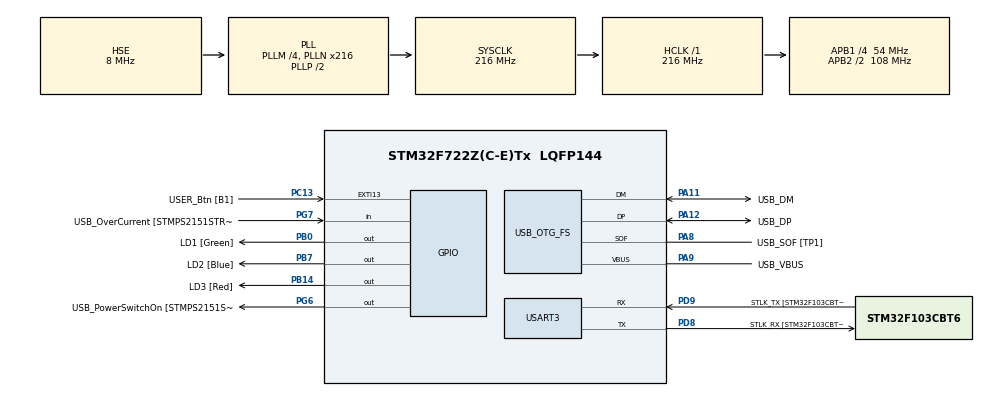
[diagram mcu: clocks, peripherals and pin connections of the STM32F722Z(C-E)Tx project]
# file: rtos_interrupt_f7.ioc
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FREERTOS.BinarySemaphores01=myBinarySem01,Dynamic,NULL
FREERTOS.CountingSemaphores01=myCountingSem01,2,Dynamic,NULL
FREERTOS.Tasks01=defaultTask,0,128,StartDefaultTask,Default,NULL,Dynamic,NULL,NULL
FREERTOS.configUSE_COUNTING_SEMAPHORES=1
FREERTOS.configUSE_NEWLIB_REENTRANT=1
Mcu.Family=STM32F7
Mcu.Name=STM32F722Z(C-E)Tx
Mcu.Package=LQFP144
NVIC.EXTI15_10_IRQn=true\:5\:0\:false\:false\:true\:true\:true\:true\:true
NVIC.PriorityGroup=NVIC_PRIORITYGROUP_4
NVIC.TIM6_DAC_IRQn=true\:15\:0\:false\:false\:true\:false\:false\:true\:true
NVIC.TimeBase=TIM6_DAC_IRQn
NVIC.TimeBaseIP=TIM6
NVIC.USART3_IRQn=true\:5\:0\:false\:false\:true\:true\:true\:true\:true
PA10.GPIO_Label=USB_ID
PA10.Signal=USB_OTG_FS_ID
PA11.GPIO_Label=USB_DM
PA11.Mode=Device_Only
PA11.Signal=USB_OTG_FS_DM
PA12.GPIO_Label=USB_DP
PA12.Mode=Device_Only
PA12.Signal=USB_OTG_FS_DP
PA13.GPIO_Label=TMS
PA13.Mode=Serial_Wire
PA13.Signal=SYS_JTMS-SWDIO
PA14.GPIO_Label=TCK
PA14.Mode=Serial_Wire
PA14.Signal=SYS_JTCK-SWCLK
PA8.GPIO_Label=USB_SOF [TP1]
PA8.Mode=Activate_SOF_FS
PA8.Signal=USB_OTG_FS_SOF
PA9.GPIO_Label=USB_VBUS
PA9.Mode=Activate_VBUS
PA9.Signal=USB_OTG_FS_VBUS
PB0.GPIO_Label=LD1 [Green]
PB0.Signal=GPIO_Output
PB14.GPIO_Label=LD3 [Red]
PB14.Signal=GPIO_Output
PB3.GPIO_Label=SWO
PB3.Signal=SYS_JTDO-SWO
PB7.GPIO_Label=LD2 [Blue]
PB7.Signal=GPIO_Output
PC13.GPIO_Label=USER_Btn [B1]
PC13.Signal=GPXTI13
PC14-OSC32_IN.Mode=LSE-External-Oscillator
PC14-OSC32_IN.Signal=RCC_OSC32_IN
PC15-OSC32_OUT.Mode=LSE-External-Oscillator
PC15-OSC32_OUT.Signal=RCC_OSC32_OUT
PD8.GPIO_Label=STLK_RX [STM32F103CBT6_PA3]
PD8.Mode=Asynchronous
PD8.Signal=USART3_TX
PD9.GPIO_Label=STLK_TX [STM32F103CBT6_PA2]
PD9.Mode=Asynchronous
PD9.Signal=USART3_RX
PG6.GPIO_Label=USB_PowerSwitchOn [STMPS2151STR_EN]
PG6.Signal=GPIO_Output
PG7.GPIO_Label=USB_OverCurrent [STMPS2151STR_FAULT]
PG7.Signal=GPIO_Input
PH0-OSC_IN.GPIO_Label=MCO
PH0-OSC_IN.Mode=HSE-External-Oscillator
PH0-OSC_IN.Signal=RCC_OSC_IN
PH1-OSC_OUT.Mode=HSE-External-Oscillator
PH1-OSC_OUT.Signal=RCC_OSC_OUT
ProjectManager.HeapSize=0x200
ProjectManager.StackSize=0x400
ProjectManager.TargetToolchain=STM32CubeIDE
RCC.48MHZClocksFreq_Value=24000000
RCC.AHBFreq_Value=216000000
RCC.APB1CLKDivider=RCC_HCLK_DIV4
RCC.APB1Freq_Value=54000000
RCC.APB1TimFreq_Value=108000000
RCC.APB2CLKDivider=RCC_HCLK_DIV2
RCC.APB2Freq_Value=108000000
RCC.APB2TimFreq_Value=216000000
RCC.CortexFreq_Value=216000000
RCC.HCLKFreq_Value=216000000
RCC.HSE_VALUE=8000000
RCC.HSI_VALUE=16000000
RCC.PLLM=4
RCC.PLLMUL=RCC_PLL_MUL9
RCC.PLLN=216
RCC.PLLQ=9
RCC.PRESCALERUSB=RCC_USBCLKSOURCE_PLL_DIV1_5
RCC.SYSCLKFreq_VALUE=216000000
RCC.SYSCLKSource=RCC_SYSCLKSOURCE_PLLCLK
RCC.SYSCLKSourceVirtual=RCC_SYSCLKSOURCE_PLLCLK
RCC.USBFreq_Value=48000000
RCC.VCOOutputFreq_Value=432000000
TIM9.Prescaler=216
USART3.VirtualMode-Asynchronous=VM_ASYNC
USB_OTG_FS.VirtualMode=Device_Only
VP_FREERTOS_VS_CMSIS_V1.Mode=CMSIS_V1
VP_SYS_VS_tim6.Mode=TIM6
VP_TIM9_VS_ClockSourceINT.Mode=Internal
board=NUCLEO-F722ZE

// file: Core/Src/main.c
/* USER CODE BEGIN Header */
/**
  ******************************************************************************
  * @file           : main.c
  * @brief          : Main program body
  ******************************************************************************
  * @attention
  *
  * Copyright (c) 2022 STMicroelectronics.
  * All rights reserved.
  *
  * This software is licensed under terms that can be found in the LICENSE file
  * in the root directory of this software component.
  * If no LICENSE file comes with this software, it is provided AS-IS.
  *
  ******************************************************************************
  */
/* USER CODE END Header */
#include "main.h"
#include "cmsis_os.h"

/* USER CODE BEGIN PM */
uint32_t previous_tick;
/* USER CODE END PM */

TIM_HandleTypeDef htim9;

UART_HandleTypeDef huart3;

PCD_HandleTypeDef hpcd_USB_OTG_FS;

osThreadId defaultTaskHandle;
osSemaphoreId myBinarySem01Handle;
osSemaphoreId myCountingSem01Handle;
/* USER CODE BEGIN PV */
osThreadId secondTaskHandle;
osThreadId thirdTaskHandle;
osThreadId interruptTaskHandle;
osThreadId uartReceiveHandle;
volatile uint8_t pData[10];
/* USER CODE END PV */

void SystemClock_Config(void);
static void MX_GPIO_Init(void);
static void MX_USART3_UART_Init(void);
static void MX_USB_OTG_FS_PCD_Init(void);
static void MX_TIM9_Init(void);
void StartDefaultTask(void const * argument);

/* USER CODE BEGIN PFP */
void StartSecondTask(void const * argument);
void StartThirdTask(void const * argument);
void StartInterruptTask(void const * argument);
void StartUartReceiveTask(void const * argument);
/* USER CODE END PFP */

/* USER CODE BEGIN 0 */
void HAL_GPIO_EXTI_Callback(uint16_t GPIO_Pin){

	//HAL_GPIO_TogglePin(LD1_GPIO_Port, LD1_Pin);

	if(previous_tick < (HAL_GetTick()-500)){
	// xTaskNotifyGive(interruptTaskHandle);
	osSignalSet(interruptTaskHandle, 1);
	HAL_UART_Transmit(&huart3,(uint8_t *)"interrupt \r\n",12,100);
	previous_tick =  HAL_GetTick();
	}
}
void HAL_UART_RxCpltCallback(UART_HandleTypeDef *huart){

//	  __HAL_UART_CLEAR_IT(&huart3,UART_IT_ORE);
//	  __HAL_UART_CLEAR_IT(&huart3,UART_IT_RXNE);
//	  __HAL_UART_CLEAR_IT(&huart3,UART_IT_IDLE);

	// HAL_UART_Receive_IT(&huart3,(uint8_t *) pData, 4);
	osSignalSet(uartReceiveHandle,2);

}

/* USER CODE END 0 */

int main(void)
{

  /* MCU Configuration--------------------------------------------------------*/

  /* Reset of all peripherals, Initializes the Flash interface and the Systick. */
  HAL_Init();

  /* Configure the system clock */
  SystemClock_Config();

  /* Initialize all configured peripherals */
  MX_GPIO_Init();
  MX_USART3_UART_Init();
  MX_USB_OTG_FS_PCD_Init();
  MX_TIM9_Init();

  /* Create the semaphores(s) */
  /* definition and creation of myBinarySem01 */
  osSemaphoreDef(myBinarySem01);
  myBinarySem01Handle = osSemaphoreCreate(osSemaphore(myBinarySem01), 1);

  /* definition and creation of myCountingSem01 */
  osSemaphoreDef(myCountingSem01);
  myCountingSem01Handle = osSemaphoreCreate(osSemaphore(myCountingSem01), 2);

  /* Create the thread(s) */
  /* definition and creation of defaultTask */
  osThreadDef(defaultTask, StartDefaultTask, osPriorityNormal, 0, 128);
  defaultTaskHandle = osThreadCreate(osThread(defaultTask), NULL);

  /* USER CODE BEGIN RTOS_THREADS */
  /* add threads, ... */

  HAL_UART_Receive_IT(&huart3,(uint8_t *) pData, 8);
  osThreadDef(secondTask,StartSecondTask,1,0,128);
  secondTaskHandle = osThreadCreate(osThread(secondTask),NULL);

  osThreadDef(thirdTask,StartThirdTask,2,0,128);
  thirdTaskHandle = osThreadCreate(osThread(thirdTask), NULL);

  osThreadDef(interruptTask,StartInterruptTask,2,0,128);
  interruptTaskHandle = osThreadCreate(osThread(interruptTask), NULL);

  osThreadDef(uartReceiveTask,StartUartReceiveTask,3,0,128);
  uartReceiveHandle = osThreadCreate(osThread(uartReceiveTask),NULL);
  /* USER CODE END RTOS_THREADS */

  /* Start scheduler */
  osKernelStart();

  /* We should never get here as control is now taken by the scheduler */
  /* Infinite loop */
  while (1)
  {

  }
}

void SystemClock_Config(void)
{
  RCC_OscInitTypeDef RCC_OscInitStruct = {0};
  RCC_ClkInitTypeDef RCC_ClkInitStruct = {0};

  /** Configure LSE Drive Capability
  */
  HAL_PWR_EnableBkUpAccess();

  /** Configure the main internal regulator output voltage
  */
  __HAL_RCC_PWR_CLK_ENABLE();
  __HAL_PWR_VOLTAGESCALING_CONFIG(PWR_REGULATOR_VOLTAGE_SCALE1);

  /** Initializes the RCC Oscillators according to the specified parameters
  * in the RCC_OscInitTypeDef structure.
  */
  RCC_OscInitStruct.OscillatorType = RCC_OSCILLATORTYPE_HSE;
  RCC_OscInitStruct.HSEState = RCC_HSE_ON;
  RCC_OscInitStruct.PLL.PLLState = RCC_PLL_ON;
  RCC_OscInitStruct.PLL.PLLSource = RCC_PLLSOURCE_HSE;
  RCC_OscInitStruct.PLL.PLLM = 4;
  RCC_OscInitStruct.PLL.PLLN = 216;
  RCC_OscInitStruct.PLL.PLLP = RCC_PLLP_DIV2;
  RCC_OscInitStruct.PLL.PLLQ = 9;
  if (HAL_RCC_OscConfig(&RCC_OscInitStruct) != HAL_OK)
  {
    Error_Handler();
  }

  /** Activate the Over-Drive mode
  */
  if (HAL_PWREx_EnableOverDrive() != HAL_OK)
  {
    Error_Handler();
  }

  /** Initializes the CPU, AHB and APB buses clocks
  */
  RCC_ClkInitStruct.ClockType = RCC_CLOCKTYPE_HCLK|RCC_CLOCKTYPE_SYSCLK
                              |RCC_CLOCKTYPE_PCLK1|RCC_CLOCKTYPE_PCLK2;
  RCC_ClkInitStruct.SYSCLKSource = RCC_SYSCLKSOURCE_PLLCLK;
  RCC_ClkInitStruct.AHBCLKDivider = RCC_SYSCLK_DIV1;
  RCC_ClkInitStruct.APB1CLKDivider = RCC_HCLK_DIV4;
  RCC_ClkInitStruct.APB2CLKDivider = RCC_HCLK_DIV2;

  if (HAL_RCC_ClockConfig(&RCC_ClkInitStruct, FLASH_LATENCY_7) != HAL_OK)
  {
    Error_Handler();
  }
}

static void MX_TIM9_Init(void)
{

  TIM_ClockConfigTypeDef sClockSourceConfig = {0};

  htim9.Instance = TIM9;
  htim9.Init.Prescaler = 216;
  htim9.Init.CounterMode = TIM_COUNTERMODE_UP;
  htim9.Init.Period = 65535;
  htim9.Init.ClockDivision = TIM_CLOCKDIVISION_DIV1;
  htim9.Init.AutoReloadPreload = TIM_AUTORELOAD_PRELOAD_DISABLE;
  if (HAL_TIM_Base_Init(&htim9) != HAL_OK)
  {
    Error_Handler();
  }
  sClockSourceConfig.ClockSource = TIM_CLOCKSOURCE_INTERNAL;
  if (HAL_TIM_ConfigClockSource(&htim9, &sClockSourceConfig) != HAL_OK)
  {
    Error_Handler();
  }

}

static void MX_USART3_UART_Init(void)
{

  huart3.Instance = USART3;
  huart3.Init.BaudRate = 115200;
  huart3.Init.WordLength = UART_WORDLENGTH_8B;
  huart3.Init.StopBits = UART_STOPBITS_1;
  huart3.Init.Parity = UART_PARITY_NONE;
  huart3.Init.Mode = UART_MODE_TX_RX;
  huart3.Init.HwFlowCtl = UART_HWCONTROL_NONE;
  huart3.Init.OverSampling = UART_OVERSAMPLING_16;
  huart3.Init.OneBitSampling = UART_ONE_BIT_SAMPLE_DISABLE;
  huart3.AdvancedInit.AdvFeatureInit = UART_ADVFEATURE_NO_INIT;
  if (HAL_UART_Init(&huart3) != HAL_OK)
  {
    Error_Handler();
  }
  /* USER CODE BEGIN USART3_Init 2 */
  // HAL_NVIC_SetPriority(&huart3,5, 0);
  // __HAL_UART_ENABLE_IT(&huart3,UART_IT_ORE);
  __HAL_UART_ENABLE_IT(&huart3,UART_IT_RXNE);
  // __HAL_UART_ENABLE_IT(&huart3,UART_IT_IDLE);
  /* USER CODE END USART3_Init 2 */

}

static void MX_USB_OTG_FS_PCD_Init(void)
{

  hpcd_USB_OTG_FS.Instance = USB_OTG_FS;
  hpcd_USB_OTG_FS.Init.dev_endpoints = 6;
  hpcd_USB_OTG_FS.Init.dma_enable = DISABLE;
  hpcd_USB_OTG_FS.Init.phy_itface = PCD_PHY_EMBEDDED;
  hpcd_USB_OTG_FS.Init.Sof_enable = ENABLE;
  hpcd_USB_OTG_FS.Init.low_power_enable = DISABLE;
  hpcd_USB_OTG_FS.Init.lpm_enable = DISABLE;
  hpcd_USB_OTG_FS.Init.battery_charging_enable = ENABLE;
  hpcd_USB_OTG_FS.Init.vbus_sensing_enable = ENABLE;
  hpcd_USB_OTG_FS.Init.use_dedicated_ep1 = DISABLE;
  if (HAL_PCD_Init(&hpcd_USB_OTG_FS) != HAL_OK)
  {
    Error_Handler();
  }

}

static void MX_GPIO_Init(void)
{
  GPIO_InitTypeDef GPIO_InitStruct = {0};

  /* GPIO Ports Clock Enable */
  __HAL_RCC_GPIOC_CLK_ENABLE();
  __HAL_RCC_GPIOH_CLK_ENABLE();
  __HAL_RCC_GPIOB_CLK_ENABLE();
  __HAL_RCC_GPIOD_CLK_ENABLE();
  __HAL_RCC_GPIOG_CLK_ENABLE();
  __HAL_RCC_GPIOA_CLK_ENABLE();

  /*Configure GPIO pin Output Level */
  HAL_GPIO_WritePin(GPIOB, LD1_Pin|LD3_Pin|LD2_Pin, GPIO_PIN_RESET);

  /*Configure GPIO pin Output Level */
  HAL_GPIO_WritePin(USB_PowerSwitchOn_GPIO_Port, USB_PowerSwitchOn_Pin, GPIO_PIN_RESET);

  /*Configure GPIO pin : USER_Btn_Pin */
  GPIO_InitStruct.Pin = USER_Btn_Pin;
  GPIO_InitStruct.Mode = GPIO_MODE_IT_RISING;
  GPIO_InitStruct.Pull = GPIO_NOPULL;
  HAL_GPIO_Init(USER_Btn_GPIO_Port, &GPIO_InitStruct);

  /*Configure GPIO pins : LD1_Pin LD3_Pin LD2_Pin */
  GPIO_InitStruct.Pin = LD1_Pin|LD3_Pin|LD2_Pin;
  GPIO_InitStruct.Mode = GPIO_MODE_OUTPUT_PP;
  GPIO_InitStruct.Pull = GPIO_NOPULL;
  GPIO_InitStruct.Speed = GPIO_SPEED_FREQ_LOW;
  HAL_GPIO_Init(GPIOB, &GPIO_InitStruct);

  /*Configure GPIO pin : USB_PowerSwitchOn_Pin */
  GPIO_InitStruct.Pin = USB_PowerSwitchOn_Pin;
  GPIO_InitStruct.Mode = GPIO_MODE_OUTPUT_PP;
  GPIO_InitStruct.Pull = GPIO_NOPULL;
  GPIO_InitStruct.Speed = GPIO_SPEED_FREQ_LOW;
  HAL_GPIO_Init(USB_PowerSwitchOn_GPIO_Port, &GPIO_InitStruct);

  /*Configure GPIO pin : USB_OverCurrent_Pin */
  GPIO_InitStruct.Pin = USB_OverCurrent_Pin;
  GPIO_InitStruct.Mode = GPIO_MODE_INPUT;
  GPIO_InitStruct.Pull = GPIO_NOPULL;
  HAL_GPIO_Init(USB_OverCurrent_GPIO_Port, &GPIO_InitStruct);

  /* EXTI interrupt init*/
  HAL_NVIC_SetPriority(EXTI15_10_IRQn, 5, 0);
  HAL_NVIC_EnableIRQ(EXTI15_10_IRQn);

}

/* USER CODE BEGIN 4 */
void StartSecondTask(void const * argument)
{
  /* USER CODE BEGIN 5 */
  /* Infinite loop */
  for(;;)
  {
	  HAL_GPIO_TogglePin(LD2_GPIO_Port, LD2_Pin);
	  osDelay(240);
  }
  /* USER CODE END 5 */
}
void StartThirdTask(void const * argument)
{
  /* USER CODE BEGIN 5 */
  /* Infinite loop */
  for(;;)
  {
	  HAL_GPIO_TogglePin(LD3_GPIO_Port, LD3_Pin);
	  osDelay(160);
  }
  /* USER CODE END 5 */
}
void StartInterruptTask(void const * argument)
{
  /* USER CODE BEGIN 5 */
  /* Infinite loop */
  int value;
  for(;;)
  {
	  //value = ulTaskNotifyTake(pdTRUE, (TickType_t)portMAX_DELAY);
	  //HAL_GPIO_TogglePin(LD3_GPIO_Port, LD3_Pin);
	  osSignalWait(1, osWaitForever);
	  HAL_UART_Transmit(&huart3,(uint8_t *)"interrupt handle \r\n",19,100);
	  osDelay(160);
  }
  /* USER CODE END 5 */
}

void StartUartReceiveTask(void const * argument){

	for(;;){
		osSignalWait(2, osWaitForever);
		// HAL_UART_Receive_IT(&huart3,(uint8_t *) pData, 4);
		HAL_UART_Transmit(&huart3, (uint8_t *)"DATA Received \r\n", 16, 100);

//		  __HAL_UART_ENABLE_IT(&huart3,UART_IT_ORE);
//		  __HAL_UART_ENABLE_IT(&huart3,UART_IT_RXNE);
//		  __HAL_UART_ENABLE_IT(&huart3,UART_IT_IDLE);

		osDelay(100);

	}
}
/* USER CODE END 4 */

void StartDefaultTask(void const * argument)
{
  /* USER CODE BEGIN 5 */
  /* Infinite loop */
  for(;;)
  {
	  HAL_GPIO_TogglePin(LD1_GPIO_Port, LD1_Pin);
	  osDelay(80);
  }
  /* USER CODE END 5 */
}

void HAL_TIM_PeriodElapsedCallback(TIM_HandleTypeDef *htim)
{
  if (htim->Instance == TIM6) {
    HAL_IncTick();
  }
}

void Error_Handler(void)
{
  __disable_irq();
  while (1)
  {
  }
}
